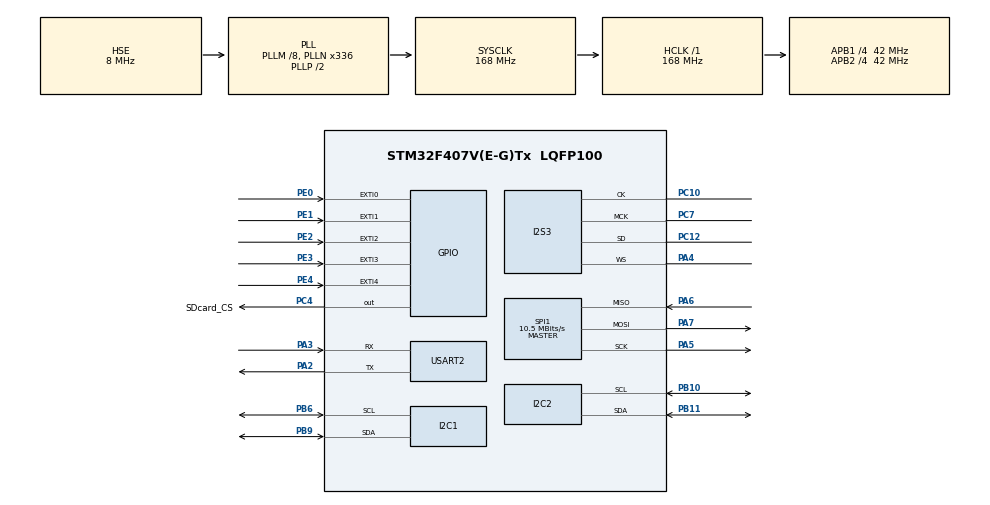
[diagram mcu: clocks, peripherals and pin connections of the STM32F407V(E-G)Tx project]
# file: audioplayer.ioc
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Dma.Request0=SPI3_TX
Dma.SPI3_TX.0.Direction=DMA_MEMORY_TO_PERIPH
Dma.SPI3_TX.0.FIFOMode=DMA_FIFOMODE_ENABLE
Dma.SPI3_TX.0.FIFOThreshold=DMA_FIFO_THRESHOLD_FULL
Dma.SPI3_TX.0.Instance=DMA1_Stream5
Dma.SPI3_TX.0.MemBurst=DMA_MBURST_SINGLE
Dma.SPI3_TX.0.MemDataAlignment=DMA_MDATAALIGN_HALFWORD
Dma.SPI3_TX.0.MemInc=DMA_MINC_ENABLE
Dma.SPI3_TX.0.Mode=DMA_CIRCULAR
Dma.SPI3_TX.0.PeriphBurst=DMA_PBURST_SINGLE
Dma.SPI3_TX.0.PeriphDataAlignment=DMA_PDATAALIGN_HALFWORD
Dma.SPI3_TX.0.PeriphInc=DMA_PINC_DISABLE
Dma.SPI3_TX.0.Priority=DMA_PRIORITY_LOW
I2S3.AudioFreq=I2S_AUDIOFREQ_44K
I2S3.ErrorAudioFreq=0.24 %
I2S3.FullDuplexMode=I2S_FULLDUPLEXMODE_DISABLE
I2S3.Instance=SPI$Index
I2S3.RealAudioFreq=44.108 KHz
I2S3.VirtualMode=I2S_MODE_MASTER
Mcu.Family=STM32F4
Mcu.Name=STM32F407V(E-G)Tx
Mcu.Package=LQFP100
NVIC.DMA1_Stream5_IRQn=true\:0\:0\:false\:false\:true\:false\:true\:true
NVIC.EXTI0_IRQn=true\:15\:0\:true\:false\:true\:true\:true\:true
NVIC.EXTI1_IRQn=true\:15\:0\:true\:false\:true\:true\:true\:true
NVIC.EXTI2_IRQn=true\:15\:0\:true\:false\:true\:true\:true\:true
NVIC.EXTI3_IRQn=true\:15\:0\:true\:false\:true\:true\:true\:true
NVIC.EXTI4_IRQn=true\:15\:0\:true\:false\:true\:true\:true\:true
NVIC.PriorityGroup=NVIC_PRIORITYGROUP_4
NVIC.TIM7_IRQn=true\:15\:0\:false\:false\:true\:false\:true\:true
NVIC.TimeBase=TIM7_IRQn
NVIC.TimeBaseIP=TIM7
PA2.Mode=Asynchronous
PA2.Signal=USART2_TX
PA3.Mode=Asynchronous
PA3.Signal=USART2_RX
PA4.Mode=Half_Duplex_Master
PA4.Signal=I2S3_WS
PA5.Mode=Full_Duplex_Master
PA5.Signal=SPI1_SCK
PA6.Mode=Full_Duplex_Master
PA6.Signal=SPI1_MISO
PA7.Mode=Full_Duplex_Master
PA7.Signal=SPI1_MOSI
PB10.Mode=I2C
PB10.Signal=I2C2_SCL
PB11.Mode=I2C
PB11.Signal=I2C2_SDA
PB6.Mode=I2C
PB6.Signal=I2C1_SCL
PB9.Mode=I2C
PB9.Signal=I2C1_SDA
PC10.Mode=Half_Duplex_Master
PC10.Signal=I2S3_CK
PC12.Mode=Half_Duplex_Master
PC12.Signal=I2S3_SD
PC4.GPIO_Label=SDcard_CS
PC4.Signal=GPIO_Output
PC7.Mode=Master_Clock_Activated
PC7.Signal=I2S3_MCK
PE0.Signal=GPXTI0
PE1.Signal=GPXTI1
PE2.Signal=GPXTI2
PE3.Signal=GPXTI3
PE4.Signal=GPXTI4
PH0-OSC_IN.Mode=HSE-External-Oscillator
PH0-OSC_IN.Signal=RCC_OSC_IN
PH1-OSC_OUT.Mode=HSE-External-Oscillator
PH1-OSC_OUT.Signal=RCC_OSC_OUT
ProjectManager.HeapSize=0x200
ProjectManager.StackSize=0x400
ProjectManager.TargetToolchain=STM32CubeIDE
RCC.48MHZClocksFreq_Value=84000000
RCC.AHBFreq_Value=168000000
RCC.APB1CLKDivider=RCC_HCLK_DIV4
RCC.APB1Freq_Value=42000000
RCC.APB1TimFreq_Value=84000000
RCC.APB2CLKDivider=RCC_HCLK_DIV4
RCC.APB2Freq_Value=42000000
RCC.APB2TimFreq_Value=84000000
RCC.CortexFreq_Value=168000000
RCC.HCLKFreq_Value=168000000
RCC.HSE_VALUE=8000000
RCC.HSI_VALUE=16000000
RCC.LSE_VALUE=32768
RCC.PLLI2SN=271
RCC.PLLI2SR=6
RCC.PLLM=8
RCC.PLLN=336
RCC.PLLSourceVirtual=RCC_PLLSOURCE_HSE
RCC.SYSCLKFreq_VALUE=168000000
RCC.SYSCLKSource=RCC_SYSCLKSOURCE_PLLCLK
RCC.VCOOutputFreq_Value=336000000
SPI1.BaudRatePrescaler=SPI_BAUDRATEPRESCALER_4
SPI1.CalculateBaudRate=10.5 MBits/s
SPI1.Direction=SPI_DIRECTION_2LINES
SPI1.Mode=SPI_MODE_MASTER
SPI1.VirtualType=VM_MASTER
USART2.VirtualMode=VM_ASYNC
VP_SYS_VS_tim7.Mode=TIM7
board=custom

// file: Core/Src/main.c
/* USER CODE BEGIN Header */
/**
 ******************************************************************************
 * @file           : main.c
 * @brief          : Main program body
 ******************************************************************************
 * @attention
 *
 * Copyright (c) 2022 STMicroelectronics.
 * All rights reserved.
 *
 * This software is licensed under terms that can be found in the LICENSE file
 * in the root directory of this software component.
 * If no LICENSE file comes with this software, it is provided AS-IS.
 *
 ******************************************************************************
 */
/* USER CODE END Header */
#include "main.h"

/* USER CODE BEGIN Includes */
#include "stdio.h"
#include "stdlib.h"
#include "string.h"
#include "FreeRTOS.h"
#include "task.h"
#include "queue.h"
#include "SSD1306.h"
#include "mmc_sd.h"
#include "fatfs.h"
#include "fops.h"
#include "File_Handling.h"
#include "waveplayer.h"
/* USER CODE END Includes */

/* USER CODE BEGIN PD */
#define STACK_SIZE 256
/* USER CODE END PD */

I2C_HandleTypeDef hi2c1;
I2C_HandleTypeDef hi2c2;

I2S_HandleTypeDef hi2s3;
DMA_HandleTypeDef hdma_spi3_tx;

SPI_HandleTypeDef hspi1;

UART_HandleTypeDef huart2;

/* USER CODE BEGIN PV */

// Default value
int OLED_display_status = OLED_MENU;
int menu_select = MENU_FILE_BROWSER;
int file_select = 0;
int setting_select = SETTING_VOLUME;

int globalTime = 0;
int lastEventTime = 0;

extern AUDIO_PLAYBACK_StateTypeDef AudioState;
extern FILELIST_FileTypeDef FileList;
extern uint32_t uwVolume;
/* USER CODE END PV */

void SystemClock_Config(void);
static void MX_GPIO_Init(void);
static void MX_USART2_UART_Init(void);
void MX_SPI1_Init(void);
static void MX_DMA_Init(void);
static void MX_I2S3_Init(void);
static void MX_I2C1_Init(void);
static void MX_I2C2_Init(void);

/* USER CODE BEGIN 0 */

void SD_init() {
	// One line of LCD contains 21 character
	char buf[22];
	sprintf(buf, "Loading SD card...");
	LCD_FStr(buf, 0, 0);
	LCD_Update();

	// Wait 1 second before loading SD card
	HAL_Delay(1000);

	// Clear LCD before showing anything
	LCD_Clear();

	MX_FATFS_Init();

	LCD_Clear();
	int mount = exf_mount();
	sprintf(buf, "SD card mount");
	LCD_FStr(buf, 0, 0);
	sprintf(buf, "%s", mount == FR_OK ? "Success" : "Fail");
	LCD_FStr(buf, 0, 1);
	LCD_Update();
	HAL_Delay(1000);

	LCD_Clear();
	unsigned free = exf_getfree();
	sprintf(buf, "SD card free space");
	LCD_FStr(buf, 0, 0);
	sprintf(buf, "%u MB", free);
	LCD_FStr(buf, 0, 1);
	LCD_Update();
	HAL_Delay(1000);
	return;
}
;

void OLED_task(void *pvParameters) {
	char buf[22];
	while (1) {
		if (OLED_display_status == OLED_MENU) {
			// Clear OLED before displaying stuff
			LCD_Clear();
			sprintf(buf, "%c %s",
					(menu_select == MENU_FILE_BROWSER) ? '>' : ' ',
					"File Browser");
			LCD_FStr(buf, 0, 0);
			sprintf(buf, "%c %s", (menu_select == MENU_PLAYER) ? '>' : ' ',
					"Player");
			LCD_FStr(buf, 0, 1);
			sprintf(buf, "%c %s", (menu_select == MENU_SETTING) ? '>' : ' ',
					"Setting");
			LCD_FStr(buf, 0, 2);
			sprintf(buf, "%c %s", (menu_select == MENU_ABOUT) ? '>' : ' ',
					"About");
			LCD_FStr(buf, 0, 3);
			LCD_Update();
		} else if (OLED_display_status == OLED_FILE_BROWSER) {
			LCD_Clear();
			sprintf(buf, "File Browser");
			LCD_FStr(buf, 0, 0);
			for (int i = 0; i < 3; i++) {
				sprintf(buf, "%c %s", (file_select == i) ? '>' : ' ',
						FileList.file[i].name);
				LCD_FStr(buf, 0, i + 1);
			}
			LCD_Update();
		} else if (OLED_display_status == OLED_PLAYER) {
			LCD_Clear();
			sprintf(buf, "Player");
			LCD_FStr(buf, 0, 0);
			sprintf(buf, "> Now Playing");
			LCD_FStr(buf, 0, 1);
			sprintf(buf, ">> %s", FileList.file[file_select].name);
			LCD_FStr(buf, 0, 2);
			switch(AudioState){
			case AUDIO_STATE_PLAY:
				sprintf(buf, "PLAYING");
				break;
			case AUDIO_STATE_IDLE:
				sprintf(buf, "STOPPED");
				break;
			case AUDIO_STATE_WAIT:
				sprintf(buf, "PAUSED");
				break;
			default:
				sprintf(buf, "STOPPED");
				break;
			}
			LCD_FStr(buf, 0, 3);
			LCD_Update();
		} else if (OLED_display_status == OLED_SETTING) {
			LCD_Clear();
			sprintf(buf, "Setting");
			LCD_FStr(buf, 0, 0);
			sprintf(buf, "%c %s %u",
					(setting_select == SETTING_VOLUME) ? '>' : ' ', "Volume",
					uwVolume);
			LCD_FStr(buf, 0, 1);
			LCD_Update();
		} else if (OLED_display_status == OLED_ABOUT) {
			LCD_Clear();
			sprintf(buf, "AudioPlayer");
			LCD_FStr(buf, 0, 0);
			sprintf(buf, "NCKU CSIE EOS project");
			LCD_FStr(buf, 0, 1);
			sprintf(buf, "2022");
			LCD_FStr(buf, 0, 2);
			sprintf(buf, "Press any key to menu");
			LCD_FStr(buf, 0, 3);
			LCD_Update();
		}
		vTaskDelay(1000 / portTICK_PERIOD_MS);
	}
	return;
}
;

void timer_task(void *pvParameters) {
	while (1) {
		globalTime++;
		vTaskDelay(1000 / portTICK_PERIOD_MS);
	}
	return;
}

void audio_task(void *pvParameters) {
	while (1) {
		AUDIO_PLAYER_Process(pdTRUE);
		vTaskDelay(1 / portTICK_PERIOD_MS);
	}
	return;
}

/* USER CODE END 0 */

int main(void) {

	/* MCU Configuration--------------------------------------------------------*/

	/* Reset of all peripherals, Initializes the Flash interface and the Systick. */
	HAL_Init();

	/* Configure the system clock */
	SystemClock_Config();

	/* Initialize all configured peripherals */
	MX_GPIO_Init();
	MX_USART2_UART_Init();
	MX_SPI1_Init();
	MX_DMA_Init();
	MX_I2S3_Init();
	MX_I2C1_Init();
	MX_I2C2_Init();
	/* USER CODE BEGIN 2 */
	LCD_Init();

	// Init SD card here
	SD_init();

	// Parse SD card media files first
	AUDIO_StorageParse();

	// Start task here
	xTaskCreate(OLED_task, "OLED_task", STACK_SIZE, (void*) NULL, 14, NULL);
	xTaskCreate(timer_task, "timer_task", STACK_SIZE, (void*) NULL, 1, NULL);
	xTaskCreate(audio_task, "audio_task", STACK_SIZE, (void*) NULL, 3, NULL);

	// Start scheduler here
	vTaskStartScheduler();
	/* USER CODE END 2 */

	/* Infinite loop */
	while (1) {

	}
}

void SystemClock_Config(void) {
	RCC_OscInitTypeDef RCC_OscInitStruct = { 0 };
	RCC_ClkInitTypeDef RCC_ClkInitStruct = { 0 };

	/** Configure the main internal regulator output voltage
	 */
	__HAL_RCC_PWR_CLK_ENABLE();
	__HAL_PWR_VOLTAGESCALING_CONFIG(PWR_REGULATOR_VOLTAGE_SCALE1);

	/** Initializes the RCC Oscillators according to the specified parameters
	 * in the RCC_OscInitTypeDef structure.
	 */
	RCC_OscInitStruct.OscillatorType = RCC_OSCILLATORTYPE_HSE;
	RCC_OscInitStruct.HSEState = RCC_HSE_ON;
	RCC_OscInitStruct.PLL.PLLState = RCC_PLL_ON;
	RCC_OscInitStruct.PLL.PLLSource = RCC_PLLSOURCE_HSE;
	RCC_OscInitStruct.PLL.PLLM = 8;
	RCC_OscInitStruct.PLL.PLLN = 336;
	RCC_OscInitStruct.PLL.PLLP = RCC_PLLP_DIV2;
	RCC_OscInitStruct.PLL.PLLQ = 4;
	if (HAL_RCC_OscConfig(&RCC_OscInitStruct) != HAL_OK) {
		Error_Handler();
	}

	/** Initializes the CPU, AHB and APB buses clocks
	 */
	RCC_ClkInitStruct.ClockType = RCC_CLOCKTYPE_HCLK | RCC_CLOCKTYPE_SYSCLK
			| RCC_CLOCKTYPE_PCLK1 | RCC_CLOCKTYPE_PCLK2;
	RCC_ClkInitStruct.SYSCLKSource = RCC_SYSCLKSOURCE_PLLCLK;
	RCC_ClkInitStruct.AHBCLKDivider = RCC_SYSCLK_DIV1;
	RCC_ClkInitStruct.APB1CLKDivider = RCC_HCLK_DIV4;
	RCC_ClkInitStruct.APB2CLKDivider = RCC_HCLK_DIV4;

	if (HAL_RCC_ClockConfig(&RCC_ClkInitStruct, FLASH_LATENCY_5) != HAL_OK) {
		Error_Handler();
	}
}

static void MX_I2C1_Init(void) {

	hi2c1.Instance = I2C1;
	hi2c1.Init.ClockSpeed = 100000;
	hi2c1.Init.DutyCycle = I2C_DUTYCYCLE_2;
	hi2c1.Init.OwnAddress1 = 0;
	hi2c1.Init.AddressingMode = I2C_ADDRESSINGMODE_7BIT;
	hi2c1.Init.DualAddressMode = I2C_DUALADDRESS_DISABLE;
	hi2c1.Init.OwnAddress2 = 0;
	hi2c1.Init.GeneralCallMode = I2C_GENERALCALL_DISABLE;
	hi2c1.Init.NoStretchMode = I2C_NOSTRETCH_DISABLE;
	if (HAL_I2C_Init(&hi2c1) != HAL_OK) {
		Error_Handler();
	}

}

static void MX_I2C2_Init(void) {

	hi2c2.Instance = I2C2;
	hi2c2.Init.ClockSpeed = 100000;
	hi2c2.Init.DutyCycle = I2C_DUTYCYCLE_2;
	hi2c2.Init.OwnAddress1 = 0;
	hi2c2.Init.AddressingMode = I2C_ADDRESSINGMODE_7BIT;
	hi2c2.Init.DualAddressMode = I2C_DUALADDRESS_DISABLE;
	hi2c2.Init.OwnAddress2 = 0;
	hi2c2.Init.GeneralCallMode = I2C_GENERALCALL_DISABLE;
	hi2c2.Init.NoStretchMode = I2C_NOSTRETCH_DISABLE;
	if (HAL_I2C_Init(&hi2c2) != HAL_OK) {
		Error_Handler();
	}

}

static void MX_I2S3_Init(void) {

	hi2s3.Instance = SPI3;
	hi2s3.Init.Mode = I2S_MODE_MASTER_TX;
	hi2s3.Init.Standard = I2S_STANDARD_PHILIPS;
	hi2s3.Init.DataFormat = I2S_DATAFORMAT_16B;
	hi2s3.Init.MCLKOutput = I2S_MCLKOUTPUT_ENABLE;
	hi2s3.Init.AudioFreq = I2S_AUDIOFREQ_44K;
	hi2s3.Init.CPOL = I2S_CPOL_LOW;
	hi2s3.Init.ClockSource = I2S_CLOCK_PLL;
	hi2s3.Init.FullDuplexMode = I2S_FULLDUPLEXMODE_DISABLE;
	if (HAL_I2S_Init(&hi2s3) != HAL_OK) {
		Error_Handler();
	}

}

void MX_SPI1_Init(void) {

	/* SPI1 parameter configuration*/
	hspi1.Instance = SPI1;
	hspi1.Init.Mode = SPI_MODE_MASTER;
	hspi1.Init.Direction = SPI_DIRECTION_2LINES;
	hspi1.Init.DataSize = SPI_DATASIZE_8BIT;
	hspi1.Init.CLKPolarity = SPI_POLARITY_LOW;
	hspi1.Init.CLKPhase = SPI_PHASE_1EDGE;
	hspi1.Init.NSS = SPI_NSS_SOFT;
	hspi1.Init.BaudRatePrescaler = SPI_BAUDRATEPRESCALER_4;
	hspi1.Init.FirstBit = SPI_FIRSTBIT_MSB;
	hspi1.Init.TIMode = SPI_TIMODE_DISABLE;
	hspi1.Init.CRCCalculation = SPI_CRCCALCULATION_DISABLE;
	hspi1.Init.CRCPolynomial = 10;
	if (HAL_SPI_Init(&hspi1) != HAL_OK) {
		Error_Handler();
	}

}

static void MX_USART2_UART_Init(void) {

	huart2.Instance = USART2;
	huart2.Init.BaudRate = 115200;
	huart2.Init.WordLength = UART_WORDLENGTH_8B;
	huart2.Init.StopBits = UART_STOPBITS_1;
	huart2.Init.Parity = UART_PARITY_NONE;
	huart2.Init.Mode = UART_MODE_TX_RX;
	huart2.Init.HwFlowCtl = UART_HWCONTROL_NONE;
	huart2.Init.OverSampling = UART_OVERSAMPLING_16;
	if (HAL_UART_Init(&huart2) != HAL_OK) {
		Error_Handler();
	}

}

static void MX_DMA_Init(void) {

	/* DMA controller clock enable */
	__HAL_RCC_DMA1_CLK_ENABLE();

	/* DMA interrupt init */
	/* DMA1_Stream5_IRQn interrupt configuration */
	HAL_NVIC_SetPriority(DMA1_Stream5_IRQn, 0, 0);
	HAL_NVIC_EnableIRQ(DMA1_Stream5_IRQn);

}

static void MX_GPIO_Init(void) {
	GPIO_InitTypeDef GPIO_InitStruct = { 0 };

	/* GPIO Ports Clock Enable */
	__HAL_RCC_GPIOE_CLK_ENABLE();
	__HAL_RCC_GPIOH_CLK_ENABLE();
	__HAL_RCC_GPIOA_CLK_ENABLE();
	__HAL_RCC_GPIOC_CLK_ENABLE();
	__HAL_RCC_GPIOB_CLK_ENABLE();

	/*Configure GPIO pin Output Level */
	HAL_GPIO_WritePin(SDcard_CS_GPIO_Port, SDcard_CS_Pin, GPIO_PIN_RESET);

	/*Configure GPIO pins : PE2 PE3 PE4 PE0
	 PE1 */
	GPIO_InitStruct.Pin = GPIO_PIN_2 | GPIO_PIN_3 | GPIO_PIN_4 | GPIO_PIN_0
			| GPIO_PIN_1;
	GPIO_InitStruct.Mode = GPIO_MODE_IT_RISING;
	GPIO_InitStruct.Pull = GPIO_NOPULL;
	HAL_GPIO_Init(GPIOE, &GPIO_InitStruct);

	/*Configure GPIO pin : SDcard_CS_Pin */
	GPIO_InitStruct.Pin = SDcard_CS_Pin;
	GPIO_InitStruct.Mode = GPIO_MODE_OUTPUT_PP;
	GPIO_InitStruct.Pull = GPIO_NOPULL;
	GPIO_InitStruct.Speed = GPIO_SPEED_FREQ_LOW;
	HAL_GPIO_Init(SDcard_CS_GPIO_Port, &GPIO_InitStruct);

	/* EXTI interrupt init*/
	HAL_NVIC_SetPriority(EXTI0_IRQn, 15, 0);
	HAL_NVIC_EnableIRQ(EXTI0_IRQn);

	HAL_NVIC_SetPriority(EXTI1_IRQn, 15, 0);
	HAL_NVIC_EnableIRQ(EXTI1_IRQn);

	HAL_NVIC_SetPriority(EXTI2_IRQn, 15, 0);
	HAL_NVIC_EnableIRQ(EXTI2_IRQn);

	HAL_NVIC_SetPriority(EXTI3_IRQn, 15, 0);
	HAL_NVIC_EnableIRQ(EXTI3_IRQn);

	HAL_NVIC_SetPriority(EXTI4_IRQn, 15, 0);
	HAL_NVIC_EnableIRQ(EXTI4_IRQn);

}

/* USER CODE BEGIN 4 */

void HAL_GPIO_EXTI_Callback(uint16_t GPIO_Pin) {
	if ((globalTime - lastEventTime) < 1)
		return;
	// Start interrupt event
	char buf[256];
	int button = -1;
	switch (GPIO_Pin) {
	case GPIO_PIN_0:
		button = 0;
		if (OLED_display_status == OLED_MENU) {
			// Do nothing when at menu
		} else if (OLED_display_status == OLED_FILE_BROWSER) {
			// When at file browser
			// Press first button to go back to menu
			OLED_display_status = OLED_MENU;
		} else if (OLED_display_status == OLED_PLAYER) {
			// When at player mode
			// Press first button to go back to menu
			OLED_display_status = OLED_MENU;
		} else if (OLED_display_status == OLED_SETTING) {
			// When at setting
			// Press first button to go back to menu
			OLED_display_status = OLED_MENU;
		} else if (OLED_display_status == OLED_ABOUT) {
			// Press any key to return to menu
			OLED_display_status = OLED_MENU;
		}
		break;
	case GPIO_PIN_1:
		button = 1;
		if (OLED_display_status == OLED_MENU) {
			switch (menu_select) {
			case MENU_FILE_BROWSER:
				OLED_display_status = OLED_FILE_BROWSER;
				break;
			case MENU_PLAYER:
				OLED_display_status = OLED_PLAYER;
				break;
			case MENU_SETTING:
				OLED_display_status = OLED_SETTING;
				break;
			case MENU_ABOUT:
				OLED_display_status = OLED_ABOUT;
				break;
			default:
				break;
			}
		} else if (OLED_display_status == OLED_FILE_BROWSER) {
			// Press this button to select file to play
			AUDIO_PLAYER_Start(file_select);
			// Change display to OLED_PLAYER
			OLED_display_status = OLED_PLAYER;
		} else if (OLED_display_status == OLED_PLAYER) {
			// Press this button to pause/play
			if (AudioState == AUDIO_STATE_PLAY)
				AudioState = AUDIO_STATE_PAUSE;
			else if (AudioState == AUDIO_STATE_WAIT)
				AudioState = AUDIO_STATE_RESUME;
		} else if (OLED_display_status == OLED_SETTING) {
			if (setting_select == SETTING_VOLUME) {
				// If setting at volume
				// Change volume down
				AudioState = AUDIO_STATE_VOLUME_DOWN;
			}
		} else if (OLED_display_status == OLED_ABOUT) {
			// Press any key to return to menu
			OLED_display_status = OLED_MENU;
		}
		break;
	case GPIO_PIN_2:
		button = 2;
		if (OLED_display_status == OLED_MENU) {
			// Do nothing
		} else if (OLED_display_status == OLED_FILE_BROWSER) {
			// Do nothing
		} else if (OLED_display_status == OLED_PLAYER) {
			// Press this button to stop
			AudioState = AUDIO_STATE_STOP;
		} else if (OLED_display_status == OLED_SETTING) {
			if (setting_select == SETTING_VOLUME) {
				// If setting at volume
				// Change volume up
				AudioState = AUDIO_STATE_VOLUME_UP;
			}
		} else if (OLED_display_status == OLED_ABOUT) {
			// Press any key to return to menu
			OLED_display_status = OLED_MENU;
		}
		break;
	case GPIO_PIN_3:
		button = 3;
		if (OLED_display_status == OLED_MENU) {
			if (menu_select != MENU_FILE_BROWSER)
				menu_select--;
			else if(menu_select == MENU_FILE_BROWSER)
				menu_select = MENU_ABOUT;
		} else if (OLED_display_status == OLED_FILE_BROWSER) {
			// Select previous file
			if (file_select > 0) file_select--;
		} else if (OLED_display_status == OLED_PLAYER) {
			// Do nothing
		} else if (OLED_display_status == OLED_SETTING) {
			// Since there are only volume to change
			// Do nothing
			OLED_display_status = OLED_MENU;
		} else if (OLED_display_status == OLED_ABOUT) {
			// Press any key to return to menu
			OLED_display_status = OLED_MENU;
		}
		break;
	case GPIO_PIN_4:
		button = 4;
		if (OLED_display_status == OLED_MENU) {
			if (menu_select != MENU_ABOUT)
				menu_select++;
			else if(menu_select == MENU_ABOUT)
				menu_select = MENU_FILE_BROWSER;
		} else if (OLED_display_status == OLED_FILE_BROWSER) {
			// Select next file
			if (file_select < 2) file_select++;
		} else if (OLED_display_status == OLED_PLAYER) {
			// Do nothing
		} else if (OLED_display_status == OLED_SETTING) {
			// Since there are only volume to change
			// Do nothing
		} else if (OLED_display_status == OLED_ABOUT) {
			// Press any key to return to menu
			OLED_display_status = OLED_MENU;
		}
		break;
	default:
		return;
		break;
	}
	sprintf(buf, "External IO button %d pressed!\n\r", button);
	HAL_UART_Transmit(&huart2, (uint8_t*) buf, strlen(buf), 0xffff);

	// Update lastEventTime
	lastEventTime = globalTime;
	return;
}

/* USER CODE END 4 */

void HAL_TIM_PeriodElapsedCallback(TIM_HandleTypeDef *htim) {
	if (htim->Instance == TIM7) {
		HAL_IncTick();
	}
}

void Error_Handler(void) {
	__disable_irq();
	while (1) {
	}
}
